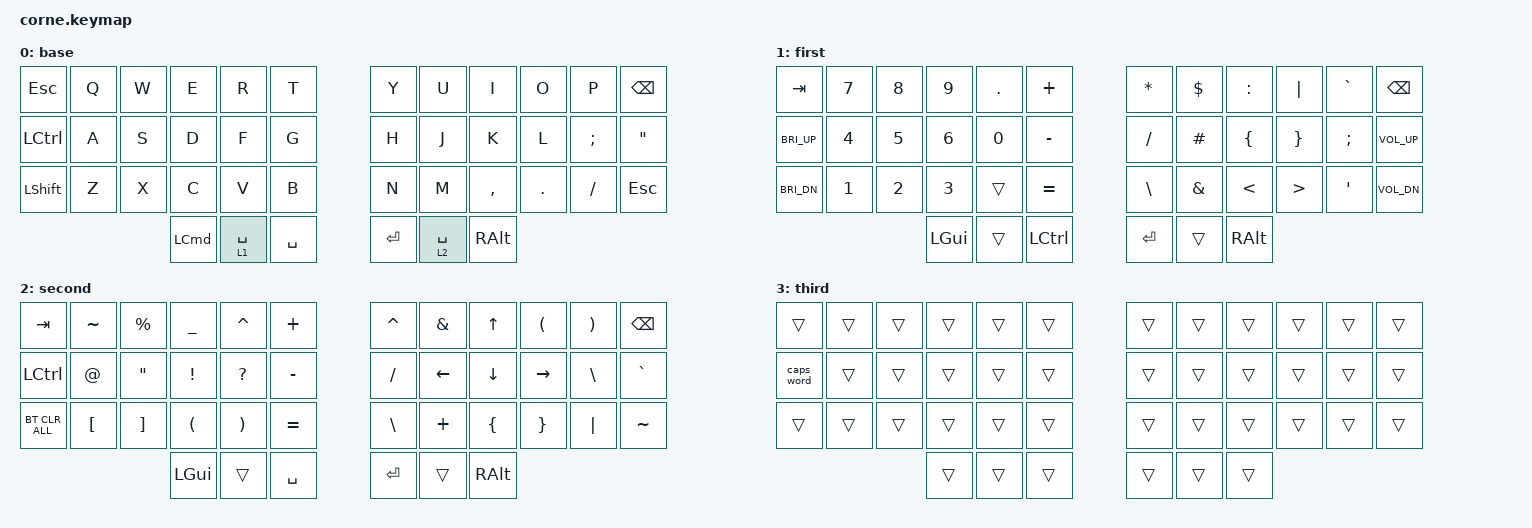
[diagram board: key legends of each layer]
/*
 * Copyright (c) 2020 The ZMK Contributors
 *
 * SPDX-License-Identifier: MIT
 */

#include <behaviors.dtsi>
#include <dt-bindings/zmk/bt.h>
#include <dt-bindings/zmk/keys.h>

/ {
    combos { compatible = "zmk,combos"; };

    keymap {
        compatible = "zmk,keymap";

        base {
            // -----------------------------------------------------------------------------------------
            // |  TAB |  Q  |  W  |  E  |  R  |  T  |   |  Y  |  U   |  I  |  O  |  P  | BSPC |
            // | CTRL |  A  |  S  |  D  |  F  |  G  |   |  H  |  J   |  K  |  L  |  ;  |  '   |
            // | SHFT |  Z  |  X  |  C  |  V  |  B  |   |  N  |  M   |  ,  |  .  |  /  | ESC  |
            //                    | GUI | LWR | SPC |   | ENT | RSE  | ALT |

            bindings = <
&kp ESCAPE  &kp Q  &kp W  &kp E             &kp R        &kp T        &kp Y    &kp U        &kp I      &kp O    &kp P     &kp BSPC
&kp LCTRL   &kp A  &kp S  &kp D             &kp F        &kp G        &kp H    &kp J        &kp K      &kp L    &kp SEMI  &kp DOUBLE_QUOTES
&kp LSHFT   &kp Z  &kp X  &kp C             &kp V        &kp B        &kp N    &kp M        &kp COMMA  &kp DOT  &kp FSLH  &kp ESC
                          &kp LEFT_COMMAND  &lt 1 SPACE  &kp SPACE    &kp RET  &lt 2 SPACE  &kp RALT
            >;
        };

        first {
            // -----------------------------------------------------------------------------------------
            // |  TAB |  1  |  2  |  3  |  4  |  5  |   |  6  |  7  |  8  |  9  |  0  | BSPC |
            // | BTCLR| BT1 | BT2 | BT3 | BT4 | BT5 |   | LFT | DWN |  UP | RGT |     |      |
            // | SHFT |     |     |     |     |     |   |     |     |     |     |     |      |
            //                    | GUI |     | SPC |   | ENT |     | ALT |

            bindings = <
&kp TAB       &kp N7        &kp N8        &kp N9        &kp DOT  &kp PLUS            &kp ASTERISK   &kp DLLR  &kp COLON  &kp PIPE          &kp GRAVE  &kp BSPC
&kp C_BRI_UP  &kp NUMBER_4  &kp N5        &kp NUMBER_6  &kp N0   &kp MINUS           &kp SLASH      &kp HASH  &kp LBRC   &kp RBRC          &kp SEMI   &kp C_VOL_UP
&kp C_BRI_DN  &kp N1        &kp NUMBER_2  &kp NUMBER_3  &trans   &kp EQUAL           &kp BACKSLASH  &kp AMPS  &kp LT     &kp GREATER_THAN  &kp SQT    &kp C_VOL_DN
                                          &kp LGUI      &trans   &kp LEFT_CONTROL    &kp RET        &trans    &kp RALT
            >;
        };

        second {
            // -----------------------------------------------------------------------------------------
            // |  TAB |  !  |  @  |  #  |  $  |  %  |   |  ^  |  &  |  *  |  (  |  )  | BSPC |
            // | CTRL |     |     |     |     |     |   |  -  |  =  |  [  |  ]  |  \  |  `   |
            // | SHFT |     |     |     |     |     |   |  _  |  +  |  {  |  }  | "|" |  ~   |
            //                    | GUI |     | SPC |   | ENT |     | ALT |

            bindings = <
&kp TAB         &kp TILDE  &kp PERCENT  &kp UNDER  &kp CARET  &kp PLUS     &kp CARET  &kp AMPS  &kp UP    &kp LPAR   &kp RPAR  &kp BSPC
&kp LCTRL       &kp AT     &kp DQT      &kp EXCL   &kp QMARK  &kp MINUS    &kp SLASH  &kp LEFT  &kp DOWN  &kp RIGHT  &kp BSLH  &kp GRAVE
&bt BT_CLR_ALL  &kp LBKT   &kp RBKT     &kp LPAR   &kp RPAR   &kp EQUAL    &kp BSLH   &kp PLUS  &kp LBRC  &kp RBRC   &kp PIPE  &kp TILDE
                                        &kp LGUI   &trans     &kp SPACE    &kp RET    &trans    &kp RALT
            >;
        };

        third {
            bindings = <
&trans      &trans  &trans  &trans  &trans  &trans    &trans  &trans  &trans  &trans  &trans  &trans
&caps_word  &trans  &trans  &trans  &trans  &trans    &trans  &trans  &trans  &trans  &trans  &trans
&trans      &trans  &trans  &trans  &trans  &trans    &trans  &trans  &trans  &trans  &trans  &trans
                            &trans  &trans  &trans    &trans  &trans  &trans
            >;
        };
    };
};
